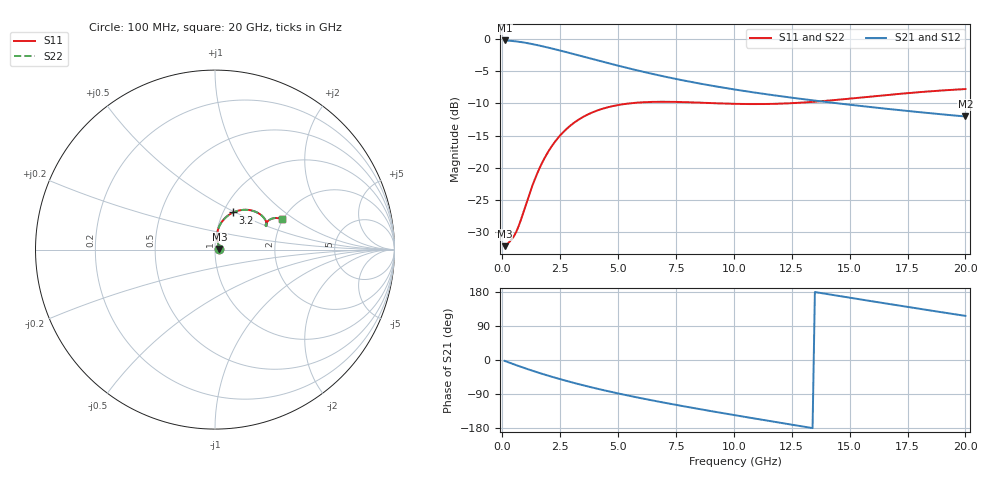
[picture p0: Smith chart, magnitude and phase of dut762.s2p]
! Touchstone file exported from HFSS 2024.1.0
!  File:  C:/UserFiles/LocalFiles/RDL_TSV_Batchsim/temp_RDL_TSV_762_1779900582.aedt
!  Generated:  01:07:30 AM May 28, 2026
!  Design:  RDL_TSV
!  Project:  temp_RDL_TSV_762_1779900582
!  Setup:  Setup1
!  Solution:  Sweep
! Variables:
!  dtsv = 13.68um
!  hbump = 3um
!  htsv = 74.45um
!  ldown = 432.1um
!  lrdl = 533.62um
!  p = 40
!  p1 = 59.22um
!  rhole = 10um
!  subl = 3430.78um
!  t = 450um
!  tdown = 2.73um
!  trdl = 4.01um
!  viad = 10um
!  wdown = 11.22um
!  wrdl = 19.4um
!  xbump = 18um
# GHz S MA R 50.000000
! Terminal data exported
! Port[1] = TM1_1_T1
! Port[2] = TM1_4_T1
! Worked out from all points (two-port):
!   200 points, 100 MHz to 20 GHz, reference 50 ohm
!   highest |S21| = -0.22 dB at 100 MHz (marker M1); lowest = -12.0 dB at 20 GHz (marker M2)
!   |S21| within 3 dB of the highest: start of sweep to 4.018 GHz
!   lowest |S11| = -32.2 dB at 100 MHz (marker M3), VSWR 1.05, Z = 52.5 + j0.434 ohm
!   |S11| at or under -10 dB: start of sweep to 5.492 GHz; 9.388 GHz to 12.3 GHz (2.908 GHz wide, 26.8 % of centre)
!   |S22| runs from -32.2 to -7.8 dB; largest |S21 - S12| = 7.2e-14
!   S11 on the Smith chart (normalised r, x): 100 MHz: 1.05, +0.01; 3.2 GHz: 1.11, +0.49; 20 GHz: 1.97, +0.80
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0.1  0.02458 9.7  0.9751 -2.3  0.9751 -2.3  0.02458 9.7
! Gamma 0 0 0 0
! Port Impedance 50 0 50 0
0.4  0.02768 34.9  0.9674 -9.1  0.9674 -9.1  0.02768 34.9
0.6  0.03169 51.3  0.9589 -13.6  0.9589 -13.6  0.03169 51.3
0.8  0.03918 65.4  0.9481 -17.9  0.9481 -17.9  0.03918 65.4
1.1  0.05721 77.9  0.9286 -24.2  0.9286 -24.2  0.05722 77.9
1.6  0.09836 82.2  0.8901 -34.2  0.8901 -34.2  0.09836 82.2
1.9  0.1256 80.3  0.8652 -39.8  0.8652 -39.8  0.1256 80.3
2.3  0.1613 75.9  0.8311 -47.1  0.8311 -47.1  0.1613 75.9
2.7  0.1945 70.6  0.7969 -54.0  0.7969 -54.0  0.1945 70.6
3.2  0.2305 63.9  0.755 -62.1  0.755 -62.1  0.2304 63.9
3.5  0.2489 60.0  0.7306 -66.8  0.7306 -66.8  0.2488 60.0
4.3  0.2863 50.7  0.6694 -78.6  0.6694 -78.6  0.2862 50.7
5.1  0.3092 43.0  0.6147 -89.5  0.6147 -89.5  0.309 42.9
5.9  0.3212 36.8  0.5668 -99.7  0.5668 -99.7  0.3209 36.8
6.8  0.3255 31.6  0.5207 -110.4  0.5207 -110.4  0.3253 31.6
8.3  0.3216 26.4  0.459 -127.2  0.459 -127.2  0.3213 26.4
10.1  0.3136 24.7  0.4038 -146.2  0.4038 -146.2  0.3132 24.7
11.7  0.3136 25.8  0.3662 -162.6  0.3662 -162.6  0.3133 25.8
13.4  0.3249 27.6  0.3341 -179.7  0.3341 -179.7  0.3247 27.7
16.7  0.3685 28.2  0.2858 147.8  0.2858 147.8  0.3685 28.3
18.3  0.3903 26.7  0.2672 132.5  0.2672 132.5  0.3904 26.9
20  0.4086 24.5  0.2502 116.4  0.2502 116.4  0.4088 24.6
